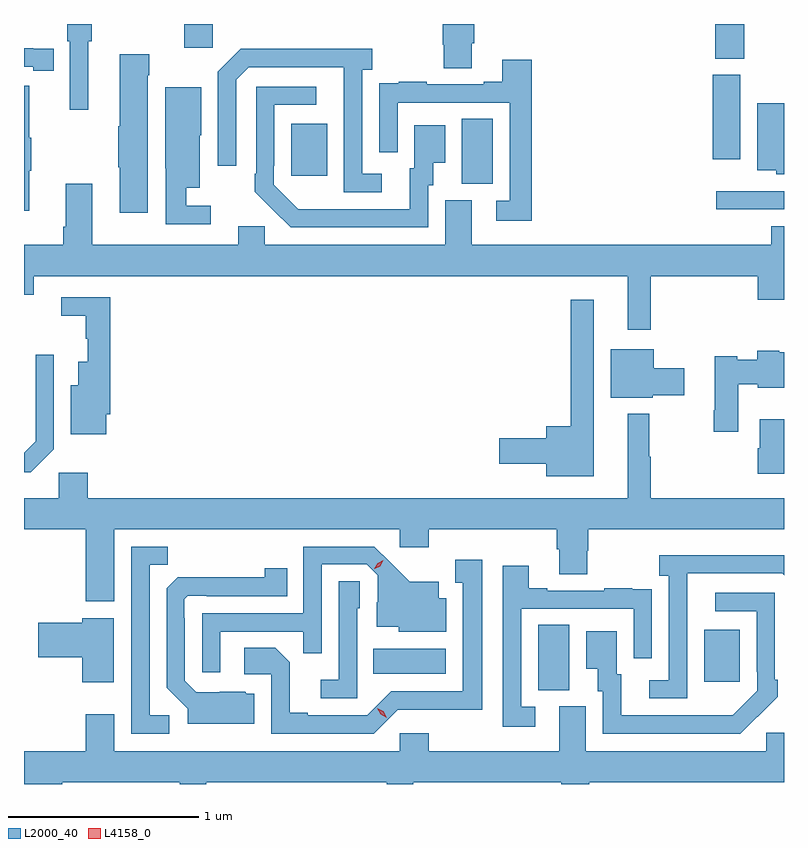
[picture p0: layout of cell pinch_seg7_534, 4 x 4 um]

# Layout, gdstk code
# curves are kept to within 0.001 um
import gdstk
lib = gdstk.Library(unit=1e-6, precision=1e-09)
def R(c, l, rs):  # rectangles x0, y0, x1, y1
    for r in rs: c.add(gdstk.rectangle(r[:2], r[2:], *l))
def P(c, l, *ps):  # polygons
    for p in ps: c.add(gdstk.Polygon(p, *l))
L2000_40 = (2000, 40)
L4158_0 = (4158, 0)

pinch_seg7_534 = lib.new_cell('pinch_seg7_534')
R(pinch_seg7_534, L2000_40, [(171.98,1078.357,172.144,1078.7), (172.853,1078.401,173.041,1078.675), (171.112,1078.442,171.493,1078.576), (172.917,1080.888,173.274,1080.984), (171.578,1081.021,171.742,1081.364), (170.681,1081.065,170.869,1081.339), (172.898,1081.152,173.044,1081.596), (172.913,1081.681,173.065,1081.863), (170.117,1081.737,170.268,1081.863)])
P(pinch_seg7_534, L2000_40, [(169.612,1081.772),(169.631,1081.772),(169.631,1081.863),(169.502,1081.863),(169.502,1081.772),(169.515,1081.772),(169.515,1081.413),(169.612,1081.413)],
  [(171.631,1081.762),(171.644,1081.762),(171.644,1081.863),(171.479,1081.863),(171.479,1081.755),(171.484,1081.755),(171.484,1081.63),(171.631,1081.63)],
  [(169.43,1081.734),(169.322,1081.734),(169.322,1081.735),(169.274,1081.735),(169.274,1081.638),(169.322,1081.638),(169.322,1081.618),(169.43,1081.618)],
  [(171.157,1081.074),(171.054,1081.074),(171.054,1081.622),(171.106,1081.622),(171.106,1081.732),(170.416,1081.732),(170.295,1081.611),(170.295,1081.116),(170.391,1081.116),(170.391,1081.569),(170.457,1081.635),(170.957,1081.635),(170.958,1080.978),(171.157,1080.978)],
  [(169.924,1081.592),(169.932,1081.592),(169.932,1081.705),(169.778,1081.705),(169.778,1081.325),(169.771,1081.325),(169.771,1081.108),(169.778,1081.108),(169.778,1080.87),(169.924,1080.87)],
  [(171.947,1081.675),(171.791,1081.675),(171.791,1081.558),(171.695,1081.558),(171.695,1081.545),(171.395,1081.545),(171.395,1081.558),(171.247,1081.558),(171.247,1081.551),(171.145,1081.551),(171.145,1081.442),(171.144,1081.442),(171.144,1081.188),(171.24,1081.188),(171.24,1081.449),(171.831,1081.449),(171.831,1080.933),(171.759,1080.933),(171.759,1080.828),(171.947,1080.828)],
  [(169.301,1081.091),(169.312,1081.091),(169.312,1081.265),(169.301,1081.265),(169.301,1081.537),(169.274,1081.537),(169.274,1080.879),(169.301,1080.879)],
  [(171.402,1081.014),(171.427,1081.014),(171.427,1081.133),(171.49,1081.133),(171.49,1081.33),(171.329,1081.33),(171.329,1081.104),(171.305,1081.104),(171.305,1080.888),(170.718,1080.889),(170.589,1081.017),(170.589,1081.117),(170.592,1081.117),(170.592,1081.437),(170.812,1081.437),(170.812,1081.533),(170.496,1081.533),(170.496,1081.075),(170.489,1081.075),(170.489,1080.98),(170.586,1080.882),(170.587,1080.883),(170.678,1080.792),(171.402,1080.792)],
  [(170.257,1080.906),(170.128,1080.906),(170.128,1081.001),(170.2,1081.001),(170.2,1081.278),(170.206,1081.278),(170.206,1081.531),(170.018,1081.531),(170.018,1081.105),(170.019,1081.105),(170.019,1080.81),(170.257,1080.81)],
  [(173.274,1081.447),(173.132,1081.447),(173.132,1081.094),(173.232,1081.094),(173.232,1081.073),(173.274,1081.073)],
  [(172.573,1080.536),(173.135,1080.536),(173.135,1080.412),(173.274,1080.412),(173.274,1080.799),(173.207,1080.799),(173.207,1080.7),(171.631,1080.7),(171.631,1080.936),(171.491,1080.936),(171.491,1080.7),(170.541,1080.7),(170.541,1080.798),(170.402,1080.798),(170.402,1080.7),(169.633,1080.7),(169.633,1081.021),(169.493,1081.021),(169.493,1080.796),(169.481,1080.796),(169.481,1080.7),(169.274,1080.7),(169.274,1080.438),(169.324,1080.438),(169.324,1080.536),(172.451,1080.536),(172.451,1080.255),(172.573,1080.255)],
  [(169.708,1079.809),(169.727,1079.809),(169.727,1080.426),(169.47,1080.426),(169.47,1080.328),(169.599,1080.328),(169.599,1080.207),(169.61,1080.207),(169.61,1080.085),(169.559,1080.085),(169.559,1079.962),(169.52,1079.962),(169.52,1079.705),(169.708,1079.705)],
  [(172.273,1080.412),(172.152,1080.412),(172.152,1079.746),(172.022,1079.746),(172.022,1079.684),(171.774,1079.684),(171.774,1079.549),(172.022,1079.549),(172.022,1079.483),(172.273,1079.483)],
  [(172.584,1079.909),(172.75,1079.909),(172.75,1080.051),(172.588,1080.051),(172.588,1080.151),(172.361,1080.151),(172.361,1079.897),(172.584,1079.897)],
  [(173.032,1079.966),(173.136,1079.966),(173.136,1079.948),(173.274,1079.948),(173.274,1080.136),(173.25,1080.136),(173.25,1080.142),(173.132,1080.142),(173.132,1080.096),(173.028,1080.096),(173.028,1080.114),(172.91,1080.114),(172.91,1079.83),(172.903,1079.83),(172.903,1079.718),(173.032,1079.718)],
  [(169.431,1079.625),(169.431,1080.121),(169.335,1080.121),(169.335,1079.667),(169.274,1079.606),(169.274,1079.504),(169.31,1079.504)],
  [(169.75,1079.204),(171.252,1079.204),(171.252,1079.109),(171.404,1079.109),(171.404,1079.204),(172.079,1079.204),(172.079,1079.098),(172.091,1079.098),(172.091,1078.966),(172.239,1078.966),(172.239,1079.091),(172.244,1079.091),(172.244,1079.204),(173.274,1079.204),(173.274,1079.368),(172.573,1079.368),(172.573,1079.585),(172.565,1079.585),(172.565,1079.812),(172.451,1079.812),(172.451,1079.368),(169.61,1079.368),(169.61,1079.5),(169.458,1079.5),(169.458,1079.368),(169.274,1079.368),(169.274,1079.204),(169.598,1079.204),(169.598,1078.824),(169.75,1078.824)],
  [(173.274,1079.782),(173.147,1079.782),(173.147,1079.63),(173.135,1079.63),(173.135,1079.496),(173.274,1079.496)],
  [(170.038,1078.224),(169.935,1078.224),(169.935,1079.017),(170.031,1079.017),(170.031,1079.112),(169.839,1079.112),(169.839,1078.128),(170.038,1078.128)],
  [(170.307,1078.665),(170.743,1078.665),(170.743,1078.552),(170.841,1078.552),(170.841,1079.019),(171.078,1079.019),(171.135,1078.962),(171.135,1078.82),(171.131,1078.82),(171.131,1078.691),(171.246,1078.691),(171.246,1078.664),(171.496,1078.664),(171.496,1078.84),(171.457,1078.84),(171.457,1078.927),(171.305,1078.927),(171.118,1079.112),(170.745,1079.112),(170.745,1078.761),(170.211,1078.761),(170.211,1078.452),(170.307,1078.452)],
  [(172.764,1078.771),(172.765,1078.971),(173.265,1078.971),(173.274,1078.962),(173.274,1079.068),(172.617,1079.068),(172.617,1078.958),(172.668,1078.958),(172.668,1078.41),(172.566,1078.41),(172.566,1078.314),(172.764,1078.314)],
  [(171.24,1078.254),(171.685,1078.253),(171.685,1079.044),(171.545,1079.044),(171.545,1078.923),(171.584,1078.923),(171.584,1078.35),(171.207,1078.35),(171.081,1078.224),(170.767,1078.224),(170.767,1078.237),(170.673,1078.237),(170.673,1078.504),(170.597,1078.58),(170.433,1078.58),(170.433,1078.44),(170.574,1078.44),(170.574,1078.128),(171.114,1078.128)],
  [(171.964,1078.269),(171.891,1078.269),(171.891,1078.785),(172.482,1078.785),(172.482,1078.524),(172.578,1078.524),(172.578,1078.778),(172.577,1078.778),(172.577,1078.887),(172.475,1078.887),(172.475,1078.894),(172.327,1078.894),(172.327,1078.881),(172.027,1078.881),(172.027,1078.894),(171.931,1078.894),(171.931,1079.011),(171.795,1079.011),(171.795,1078.164),(171.964,1078.164)],
  [(170.485,1078.339),(170.447,1078.339),(170.438,1078.348),(170.181,1078.347),(170.121,1078.407),(170.121,1078.736),(170.118,1078.736),(170.118,1078.836),(170.136,1078.854),(170.236,1078.854),(170.236,1078.851),(170.66,1078.851),(170.66,1078.999),(170.542,1078.999),(170.542,1078.952),(170.084,1078.951),(170.025,1078.892),(170.025,1078.37),(170.135,1078.26),(170.135,1078.181),(170.485,1078.181)],
  [(171.027,1078.788),(171.042,1078.788),(171.042,1078.931),(170.931,1078.931),(170.931,1078.411),(170.835,1078.411),(170.835,1078.314),(171.027,1078.314)],
  [(173.135,1078.219),(173.136,1078.218),(173.241,1078.323),(173.241,1078.411),(173.226,1078.411),(173.226,1078.869),(172.911,1078.869),(172.911,1078.773),(173.13,1078.773),(173.13,1078.453),(173.133,1078.453),(173.133,1078.353),(173.005,1078.225),(172.417,1078.224),(172.417,1078.44),(172.393,1078.44),(172.393,1078.666),(172.232,1078.666),(172.232,1078.469),(172.295,1078.469),(172.295,1078.35),(172.32,1078.35),(172.32,1078.128),(173.044,1078.128)],
  [(169.747,1078.735),(169.58,1078.735),(169.58,1078.712),(169.35,1078.712),(169.35,1078.529),(169.58,1078.529),(169.58,1078.398),(169.747,1078.398)],
  [(169.474,1077.872),(170.093,1077.872),(170.093,1077.863),(170.233,1077.863),(170.233,1077.872),(171.183,1077.872),(171.183,1077.863),(171.322,1077.863),(171.322,1077.872),(172.102,1077.872),(172.102,1077.863),(172.248,1077.863),(172.248,1077.872),(173.274,1077.872),(173.274,1078.134),(173.181,1078.134),(173.181,1078.036),(172.231,1078.036),(172.231,1078.272),(172.091,1078.272),(172.091,1078.036),(171.404,1078.036),(171.404,1078.129),(171.252,1078.129),(171.252,1078.036),(169.75,1078.036),(169.75,1078.231),(169.598,1078.231),(169.598,1078.036),(169.274,1078.036),(169.274,1077.863),(169.474,1077.863)])
P(pinch_seg7_534, L4158_0, [(171.184,1078.212),(171.151,1078.23),(171.133,1078.263),(171.133,1078.263),(171.133,1078.263),(171.166,1078.245),(171.184,1078.213),(171.184,1078.212)],
  [(171.118,1078.995),(171.118,1078.995),(171.136,1079.025),(171.166,1079.04),(171.166,1079.04),(171.166,1079.04),(171.149,1079.01),(171.119,1078.995)])

lib.write_gds('pinch_seg7_534.gds')
